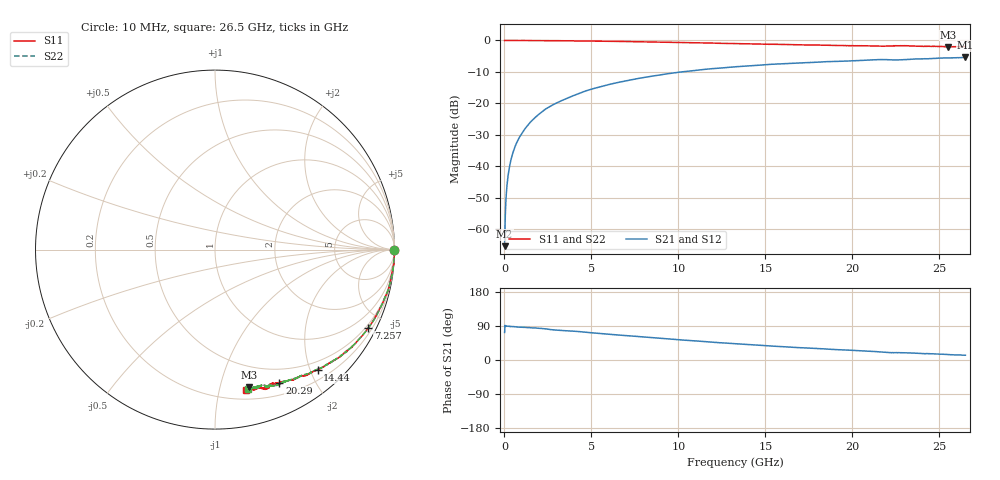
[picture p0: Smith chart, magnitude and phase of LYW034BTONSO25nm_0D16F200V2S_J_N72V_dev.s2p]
!Keysight Technologies,N5222B,MY61253708,A.15.00.15
!Date: Wednesday, June 19, 2024 09:20:42
!Correction: S11(C  2-Port  )
!S21(C  2-Port  )
!S12(C  2-Port  )
!S22(C  2-Port  )
!S2P File: Measurements: S11, S21, S12, S22:
# Hz S  RI  R 50
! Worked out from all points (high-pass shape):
!   2651 points, 10 MHz to 26.5 GHz, reference 50 ohm
!   highest |S21| = -5.37 dB at 26.5 GHz (marker M1); lowest = -65.3 dB at 10 MHz (marker M2)
!   |S21| within 3 dB of the highest: 13.28 GHz to end of sweep
!   lowest |S11| = -2.1 dB at 25.5 GHz (marker M3), VSWR 8.50, Z = 15.2 - j61.7 ohm
!   |S11| at or under -10 dB: nowhere
!   |S22| runs from -2.0 to 0.0 dB; largest |S21 - S12| = 0.0069
!   S11 on the Smith chart (normalised r, x): 10 MHz: open; 7.257 GHz: 0.38, -4.12; 14.44 GHz: 0.35, -2.12; 20.29 GHz: 0.33, -1.54; 26.5 GHz: 0.28, -1.21
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1e7  0.9987 -0.00249  0.000159 0.000516  0.000246 0.000267  0.9984 -0.000818
7.997358e7  0.9999 -0.0058  2.01e-05 0.00269  2.74e-05 0.00273  0.9993 -0.00541
1.599434e8  0.9998 -0.0117  6.3e-05 0.0054  5.76e-05 0.00547  0.9995 -0.0109
2.099245e8  0.9996 -0.0146  0.000117 0.00711  0.000116 0.00718  0.9993 -0.014
2.699019e8  0.9996 -0.0189  0.000198 0.00914  0.000182 0.00923  0.9998 -0.0181
3.698642e8  0.9995 -0.026  0.000331 0.0125  0.000354 0.0126  0.9992 -0.0253
4.998151e8  0.9988 -0.0345  0.000559 0.0169  0.000611 0.017  0.9991 -0.0335
6.597547e8  0.9982 -0.0448  0.00096 0.0222  0.000959 0.0224  0.9984 -0.0441
8.596792e8  0.9979 -0.0584  0.00165 0.0289  0.00165 0.0291  0.9974 -0.0583
1.469449e9  0.9901 -0.1008  0.00405 0.0496  0.00406 0.0499  0.9927 -0.0971
2.349117e9  0.9808 -0.1557  0.0108 0.08  0.011 0.0806  0.982 -0.1562
3.218789e9  0.9684 -0.2119  0.0223 0.1063  0.0226 0.1071  0.9686 -0.2115
4.428332e9  0.9398 -0.2848  0.0402 0.1441  0.0407 0.1451  0.941 -0.2828
7.257264e9  0.8542 -0.4361  0.1057 0.2115  0.107 0.2122  0.8554 -0.4356
8.846664e9  0.7957 -0.5067  0.1497 0.2386  0.1515 0.2393  0.7962 -0.5059
1.3255e10  0.617 -0.6444  0.2785 0.2603  0.281 0.26  0.6191 -0.6435
1.444455e10  0.5722 -0.6701  0.3086 0.2557  0.3111 0.2551  0.5723 -0.6661
1.767333e10  0.4434 -0.7205  0.3839 0.23  0.3877 0.2281  0.4525 -0.7182
2.029234e10  0.3589 -0.7427  0.4337 0.2016  0.437 0.1988  0.3723 -0.7439
2.209166e10  0.3091 -0.7503  0.465 0.1665  0.467 0.1631  0.3015 -0.7563
2.550038e10  0.1912 -0.766  0.5126 0.1291  0.5142 0.1286  0.2101 -0.7689
2.65e10  0.1725 -0.7808  0.526 0.1181  0.5255 0.1139  0.1839 -0.7787
